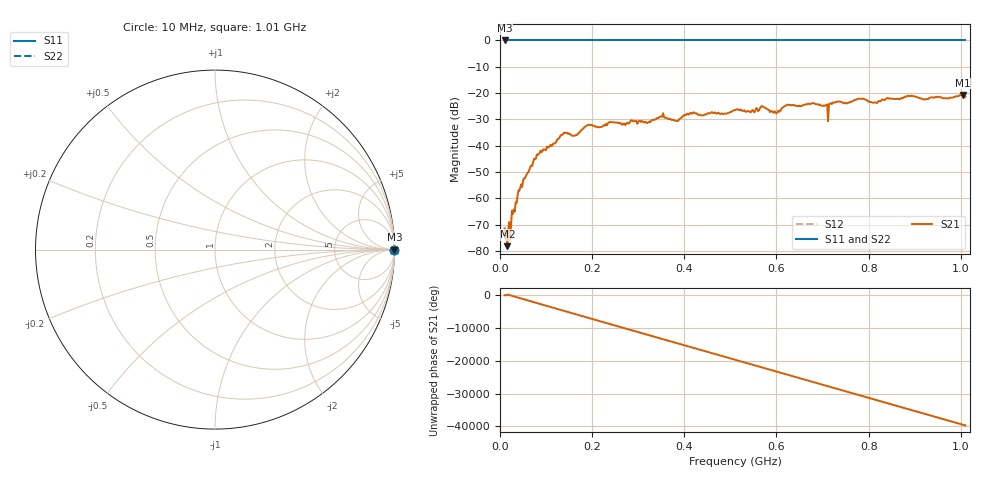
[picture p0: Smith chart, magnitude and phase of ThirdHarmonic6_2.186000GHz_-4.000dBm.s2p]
! 8/17/2025 2:03:56 AM
! C:\ANRITSUVNA\TEMP\TEMP.S2P
! CHANNEL.1
! TR.MEASUREMENT
! RAW.DATA
! RF.CORRECTION.OFF
! AVERAGING.OFF
! IF.BANDWIDTH: 5KHZ
! SWEEPTYPE:  FREQ.SWEEP(Linear)
! Reference Plane Port Info
! PORT:  PORT1  PORT2
! DISTANCE:  0  m  0  m
! TIME:  0  s  0  s
! PHASE.OFFSET:  0  deg.  0  deg.
! LOSS:  0  dB  0  dB
! REF.LOSS:  0  dB  0  dB
! REF.FREQ:  0  Hz  0  Hz
! Power Info
! POWER:  -20  dBm  -20  dBm
! EFF.POWER:  -20  dBm  -20  dBm
! SOURCE.ATTEN:  0  dB  0  dB
! TEST.ATTEN:  0  dB  0  dB
# GHZ S RI R 50.0
! FREQ.GHZ  S11RE  S11IM  S21RE  S21IM  S12RE  S12IM  S22RE  S22IM
!; PortSelection: Port_12
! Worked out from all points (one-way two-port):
!   501 points, 10 MHz to 1.01 GHz, reference 50 ohm
!   highest |S21| = -20.67 dB at 1.004 GHz (marker M1); lowest = -78.1 dB at 16 MHz (marker M2)
!   lowest |S11| = 0.0 dB at 10 MHz (marker M3)
!   |S11| at or under -10 dB: nowhere
!   |S22| runs from 0.0 to 0.0 dB; largest |S21 - S12| = 1.1
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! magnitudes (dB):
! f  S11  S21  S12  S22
! 10 MHz  0.0  -71.3  0.0  0.0
! 16 MHz  0.0  -78.1  0.0  0.0
! 20 MHz  0.0  -69.0  0.0  0.0
! 30 MHz  0.0  -64.3  0.0  0.0
! 42 MHz  0.0  -57.1  0.0  0.0
! 78 MHz  0.0  -44.8  0.0  0.0
! 136 MHz  0.0  -35.8  0.0  0.0
! 162 MHz  0.0  -36.2  0.0  0.0
! 178 MHz  0.0  -33.9  0.0  0.0
! 344 MHz  0.0  -29.4  0.0  0.0
! 382 MHz  0.0  -30.5  0.0  0.0
! 416 MHz  0.0  -27.8  0.0  0.0
! 510 MHz  0.0  -26.4  0.0  0.0
! 570 MHz  0.0  -25.1  0.0  0.0
! 598 MHz  0.0  -27.4  0.0  0.0
! 624 MHz  0.0  -24.4  0.0  0.0
! 678 MHz  0.0  -23.8  0.0  0.0
! 708 MHz  0.0  -24.4  0.0  0.0
! 732 MHz  0.0  -23.3  0.0  0.0
! 844 MHz  0.0  -22.1  0.0  0.0
! 1.004 GHz  0.0  -20.7  0.0  0.0
! 1.01 GHz  0.0  -21.4  0.0  0.0
